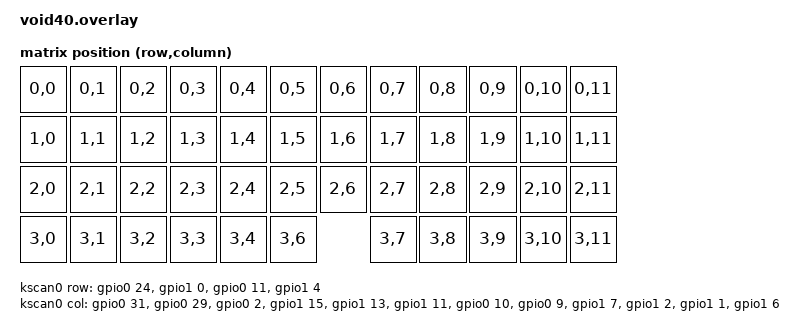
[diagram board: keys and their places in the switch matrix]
/*
 * Copyright (c) 2025 Alexis Williams
 *
 * SPDX-License-Identifier: MIT
 */

#include <dt-bindings/zmk/matrix_transform.h>
#include <dt-bindings/gpio/gpio.h>
#include <dt-bindings/i2c/i2c.h>
#include <common/layouts/ortho_4x12/1x2u.dtsi>

/ {
    chosen {
        zmk,kscan = &kscan0;
        zmk,matrix_transform = &default_transform;
        zmk,physical_layout = &ortho_4x12_1x2u_layout;
        zmk,display = &oled;
    };

    display_power: display_power {
        compatible = "regulator-fixed";
        regulator-name = "display_power";
        enable-gpios = <&gpio0 13 GPIO_ACTIVE_HIGH>;
        regulator-boot-on;
        startup-delay-us = <10000>;
    };

    default_transform: keymap_transform_0 {
        compatible = "zmk,matrix-transform";
        columns = <12>;
        rows = <4>;
        // RC(row,col) - 4x12 matrix for 47-key Planck layout with 2u spacebar
        map = <
RC(0,0) RC(0,1) RC(0,2) RC(0,3) RC(0,4) RC(0,5) RC(0,6) RC(0,7) RC(0,8) RC(0,9) RC(0,10) RC(0,11)
RC(1,0) RC(1,1) RC(1,2) RC(1,3) RC(1,4) RC(1,5) RC(1,6) RC(1,7) RC(1,8) RC(1,9) RC(1,10) RC(1,11)
RC(2,0) RC(2,1) RC(2,2) RC(2,3) RC(2,4) RC(2,5) RC(2,6) RC(2,7) RC(2,8) RC(2,9) RC(2,10) RC(2,11)
RC(3,0) RC(3,1) RC(3,2) RC(3,3) RC(3,4)     RC(3,6)     RC(3,7) RC(3,8) RC(3,9) RC(3,10) RC(3,11)
        >;
    };

    kscan0: kscan {
        compatible = "zmk,kscan-gpio-matrix";
        label = "KSCAN";

        diode-direction = "col2row";

        // Hand-wired VOID40 pin assignments
        row-gpios
            = <&gpio0 24 (GPIO_ACTIVE_HIGH | GPIO_PULL_DOWN)>  // Row 0: P0.24 (D5)
            , <&gpio1 0  (GPIO_ACTIVE_HIGH | GPIO_PULL_DOWN)>  // Row 1: P1.00 (D6)
            , <&gpio0 11 (GPIO_ACTIVE_HIGH | GPIO_PULL_DOWN)>  // Row 2: P0.11 (D7)
            , <&gpio1 4  (GPIO_ACTIVE_HIGH | GPIO_PULL_DOWN)>  // Row 3: P1.04 (D8)
            ;

        col-gpios
            = <&gpio0 31 GPIO_ACTIVE_HIGH>  // Col 0: P0.31 (D21)
            , <&gpio0 29 GPIO_ACTIVE_HIGH>  // Col 1: P0.29 (D20)
            , <&gpio0 2  GPIO_ACTIVE_HIGH>  // Col 2: P0.02 (D19)
            , <&gpio1 15 GPIO_ACTIVE_HIGH>  // Col 3: P1.15 (D18)
            , <&gpio1 13 GPIO_ACTIVE_HIGH>  // Col 4: P1.13 (D15)
            , <&gpio1 11 GPIO_ACTIVE_HIGH>  // Col 5: P1.11 (D14)
            , <&gpio0 10 GPIO_ACTIVE_HIGH>  // Col 6: P0.10 (D16)
            , <&gpio0 9  GPIO_ACTIVE_HIGH>  // Col 7: P0.09 (D10)
            , <&gpio1 7  GPIO_ACTIVE_HIGH>  // Col 8: P1.07 (underside)
            , <&gpio1 2  GPIO_ACTIVE_HIGH>  // Col 9: P1.02 (underside)
            , <&gpio1 1  GPIO_ACTIVE_HIGH>  // Col 10: P1.01 (underside)
            , <&gpio1 6  GPIO_ACTIVE_HIGH>  // Col 11: P1.06 (D9)
            ;
    };
};

&pro_micro_i2c {
    status = "okay";
    clock-frequency = <I2C_BITRATE_FAST>;

    sda-gpios = <&gpio0 17 (GPIO_ACTIVE_HIGH | GPIO_OPEN_DRAIN)>;  // P0.17
    scl-gpios = <&gpio0 8  (GPIO_ACTIVE_HIGH | GPIO_OPEN_DRAIN)>;  // P0.08

    oled: ssd1306@3c {
        compatible = "solomon,ssd1306fb";
        reg = <0x3c>;
        width = <128>;
        height = <64>;
        segment-offset = <0>;
        page-offset = <0>;
        display-offset = <0>;
        multiplex-ratio = <63>;
        segment-remap;
        com-invdir;
        com-sequential;
        inversion-on;
        prechargep = <0x22>;
        vdd-supply = <&display_power>;
    };
};
